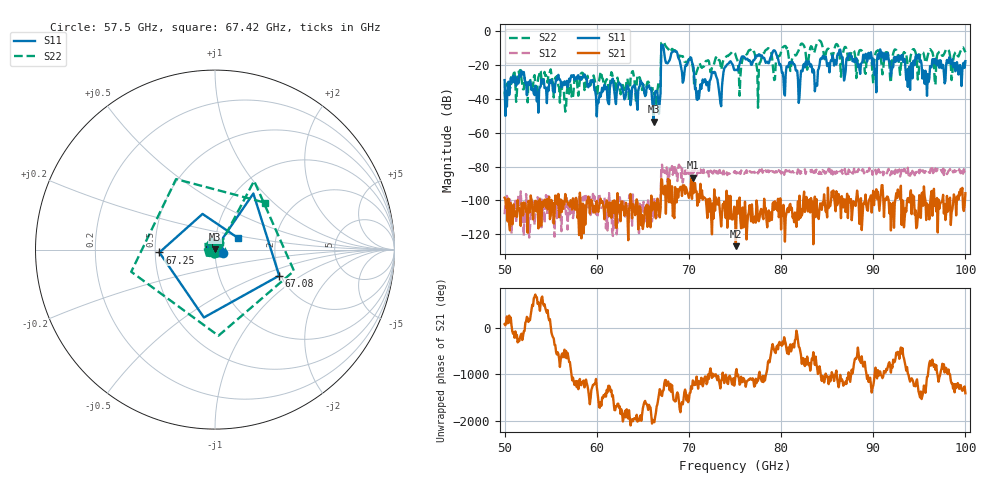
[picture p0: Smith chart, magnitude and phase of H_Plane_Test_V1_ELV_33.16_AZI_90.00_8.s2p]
! 11/27/2026 8:06:13 AM
! C:\ANRITSUVNA\TEMP\TEMP.S2P
! CHANNEL.1
! TR.MEASUREMENT
! RAW.DATA
# HZ S RI R 50.0
! FREQ.HZ  S11RE  S11IM  S21RE  S21IM  S12RE  S12IM  S22RE  S22IM
!; PortSelection: Port_12
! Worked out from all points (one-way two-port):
!   601 points, 50 GHz to 100 GHz, reference 50 ohm
!   highest |S21| = -86.62 dB at 70.42 GHz (marker M1); lowest = -127.0 dB at 75.08 GHz (marker M2)
!   lowest |S11| = -53.6 dB at 66.17 GHz (marker M3), VSWR 1.00, Z = 50.1 + j0.164 ohm
!   |S11| at or under -10 dB: start of sweep to 67 GHz; 67.24 GHz to end of sweep
!   |S22| runs from -47.6 to -5.6 dB; largest |S21 - S12| = 0.00013
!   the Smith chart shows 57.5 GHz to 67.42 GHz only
!   S11 on the Smith chart (normalised r, x): 57.5 GHz: 1.09, -0.04; 67.08 GHz: 1.96, -0.67; 67.25 GHz: 0.53, -0.02; 67.42 GHz: 1.29, +0.17
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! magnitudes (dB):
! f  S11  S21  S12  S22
! 50 GHz  -29.0  -98.4  -108.2  -35.7
! 51.67 GHz  -26.2  -108.0  -101.9  -23.1
! 53.42 GHz  -34.6  -106.5  -105.6  -35.4
! 57.5 GHz  -26.1  -100.9  -107.1  -34.4
! 58.42 GHz  -27.1  -102.6  -98.8  -24.6
! 60.17 GHz  -42.6  -106.8  -99.7  -30.2
! 66.17 GHz  -53.6  -104.2  -109.8  -33.8
! 66.67 GHz  -41.7  -101.4  -103.5  -31.6
! 67.08 GHz  -8.3  -87.9  -78.9  -6.8
! 67.25 GHz  -10.2  -96.4  -84.7  -6.3
! 67.42 GHz  -16.8  -91.3  -83.8  -8.4
! 70.42 GHz  -19.7  -86.6  -85.1  -21.1
! 70.92 GHz  -40.7  -103.1  -83.6  -22.9
! 75 GHz  -23.1  -104.3  -82.7  -13.1
! 75.08 GHz  -23.0  -127.0  -83.8  -14.6
! 79.25 GHz  -11.4  -105.5  -83.5  -29.0
! 80.25 GHz  -27.9  -102.6  -82.6  -9.3
! 83.42 GHz  -24.5  -100.8  -83.3  -10.9
! 91.67 GHz  -16.6  -99.6  -81.3  -15.3
! 94.83 GHz  -14.9  -110.1  -82.1  -28.6
! 95.83 GHz  -38.3  -101.8  -83.2  -16.4
! 100 GHz  -17.8  -95.8  -84.2  -12.6
